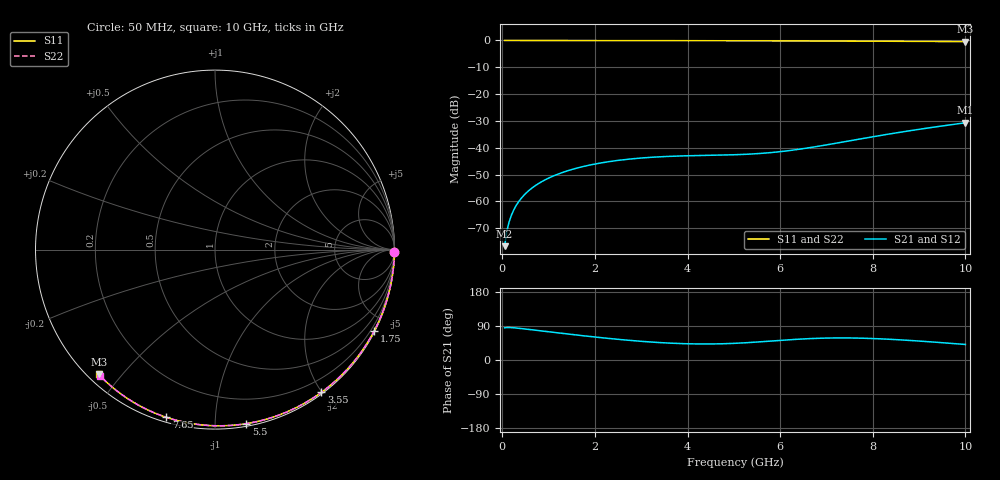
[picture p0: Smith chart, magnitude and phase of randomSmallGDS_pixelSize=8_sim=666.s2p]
! freq	dB(S11)	phase(S11)	dB(S12)	phase(S12)
!  dB(S21)	phase(S21)	dB(S22)	phase(S22)
!S-par simulation data
#  GHz  S  DB  R 50
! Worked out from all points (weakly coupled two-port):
!   200 points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, 50 MHz to 10 GHz, reference 50 ohm
!   highest |S21| = -30.70 dB at 10 GHz (marker M1); lowest = -76.7 dB at 50 MHz (marker M2)
!   lowest |S11| = -0.4 dB at 10 GHz (marker M3), VSWR 39.42, Z = 1.51 - j21.7 ohm
!   |S11| at or under -10 dB: nowhere
!   |S22| runs from -0.4 to 0.0 dB; largest |S21 - S12| = 0
!   S11 on the Smith chart (normalised r, x): 50 MHz: open; 1.75 GHz: 0.04, -4.17; 3.55 GHz: 0.02, -1.99; 5.5 GHz: 0.02, -1.20; 7.65 GHz: 0.02, -0.75; 10 GHz: 0.03, -0.43
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0.05  -0.00 -0.8  -76.68 84.8  -76.68 84.8  -0.00 -0.8
0.1  -0.00 -1.6  -70.93 85.7  -70.93 85.7  -0.00 -1.6
0.15  -0.00 -2.4  -67.48 85.8  -67.48 85.8  -0.00 -2.3
0.2  -0.00 -3.1  -65.01 85.5  -65.01 85.5  -0.00 -3.1
0.25  -0.00 -3.9  -63.08 85.0  -63.08 85.0  -0.00 -3.9
0.35  -0.00 -5.5  -60.19 83.8  -60.19 83.8  -0.00 -5.5
0.5  -0.01 -7.8  -57.13 81.8  -57.13 81.8  -0.01 -7.8
0.7  -0.01 -10.9  -54.27 78.9  -54.27 78.9  -0.01 -10.9
1  -0.02 -15.5  -51.31 74.5  -51.31 74.5  -0.02 -15.5
1.35  -0.03 -20.9  -48.91 69.5  -48.91 69.5  -0.03 -20.8
1.75  -0.03 -27.0  -46.98 63.9  -46.98 63.9  -0.03 -26.8
2.5  -0.05 -38.1  -44.70 54.5  -44.70 54.5  -0.05 -38.0
3.4  -0.07 -51.2  -43.37 46.0  -43.37 46.0  -0.07 -51.0
3.55  -0.07 -53.3  -43.24 44.9  -43.24 44.9  -0.07 -53.1
4.3  -0.09 -63.8  -42.87 42.2  -42.87 42.2  -0.09 -63.5
5.05  -0.11 -73.9  -42.58 44.2  -42.58 44.2  -0.11 -73.5
5.5  -0.13 -79.7  -42.21 47.4  -42.21 47.4  -0.13 -79.4
6.05  -0.15 -86.8  -41.36 52.2  -41.36 52.2  -0.15 -86.4
6.7  -0.18 -94.8  -39.79 56.7  -39.79 56.7  -0.18 -94.4
7.65  -0.24 -106.2  -36.96 57.9  -36.96 57.9  -0.24 -105.8
8.35  -0.29 -114.4  -34.89 54.8  -34.89 54.8  -0.29 -113.9
10  -0.44 -133.0  -30.70 41.0  -30.70 41.0  -0.44 -132.4
